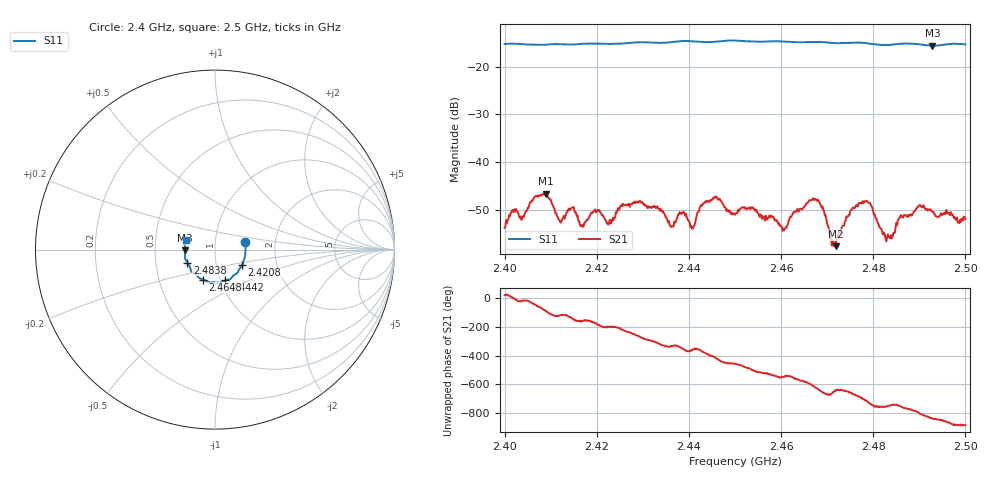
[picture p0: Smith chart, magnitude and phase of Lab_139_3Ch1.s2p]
# Hz S RI R 50
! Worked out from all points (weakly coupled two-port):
!   601 points, 2.4 GHz to 2.5 GHz, reference 50 ohm
!   highest |S21| = -46.61 dB at 2.409 GHz (marker M1); lowest = -57.6 dB at 2.4718 GHz (marker M2)
!   lowest |S11| = -15.6 dB at 2.4928 GHz (marker M3), VSWR 1.40, Z = 35.8 - j0.353 ohm
!   |S11| at or under -10 dB: start of sweep to end of sweep
!   S12 and S22 are empty: the file has one direction only
!   S11 on the Smith chart (normalised r, x): 2.4 GHz: 1.40, +0.12; 2.4208 GHz: 1.33, -0.24; 2.4442 GHz: 1.05, -0.37; 2.4648 GHz: 0.83, -0.29; 2.4838 GHz: 0.73, -0.11; 2.5 GHz: 0.72, +0.08
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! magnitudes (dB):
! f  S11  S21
! 2.4 GHz  -15.3  -53.8
! 2.409 GHz  -15.4  -46.6
! 2.4118 GHz  -15.3  -52.1
! 2.4145 GHz  -15.4  -49.6
! 2.4167 GHz  -15.2  -53.4
! 2.4208 GHz  -15.2  -50.6
! 2.4333 GHz  -15.0  -49.8
! 2.4408 GHz  -14.7  -53.9
! 2.4442 GHz  -14.9  -48.2
! 2.45 GHz  -14.5  -51.0
! 2.4537 GHz  -14.7  -49.7
! 2.4607 GHz  -14.7  -54.3
! 2.4648 GHz  -14.9  -49.5
! 2.4667 GHz  -14.8  -48.0
! 2.4685 GHz  -14.8  -48.8
! 2.4718 GHz  -15.1  -57.6
! 2.4782 GHz  -15.0  -48.4
! 2.4833 GHz  -15.5  -55.5
! 2.4838 GHz  -15.4  -55.3
! 2.4862 GHz  -15.2  -51.5
! 2.4928 GHz  -15.6  -50.4
! 2.5 GHz  -15.4  -52.0
